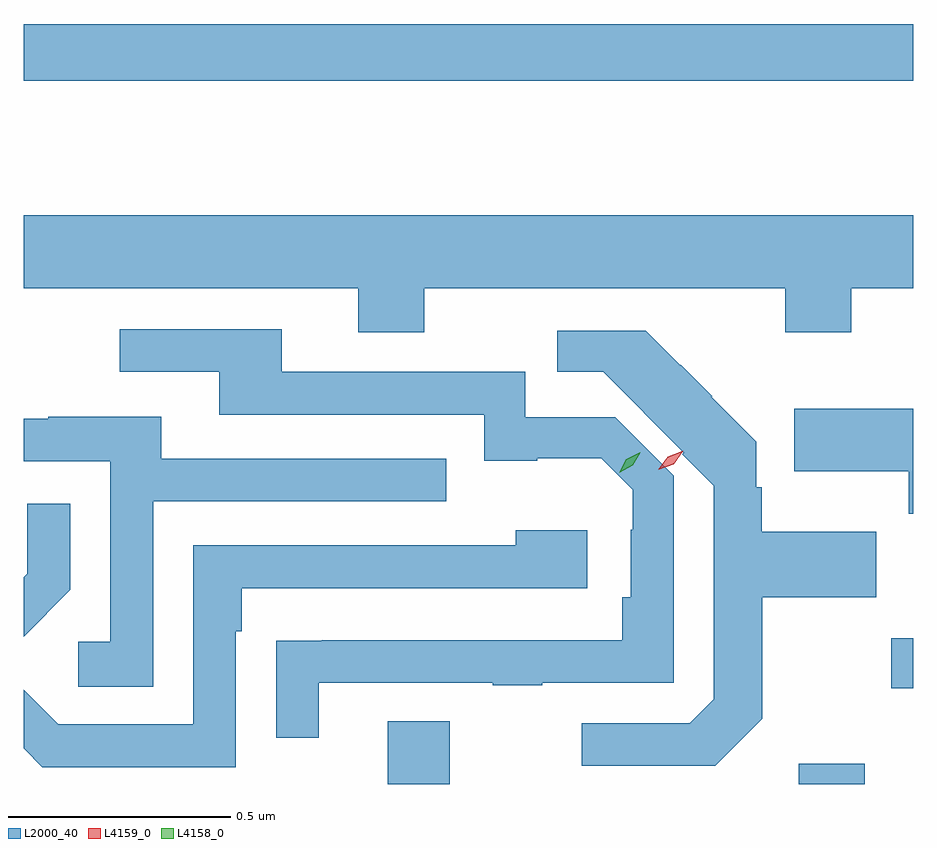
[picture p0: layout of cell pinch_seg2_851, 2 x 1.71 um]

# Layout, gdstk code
import gdstk
lib = gdstk.Library(unit=1e-6, precision=1e-09)
def R(c, l, rs):  # rectangles x0, y0, x1, y1
    for r in rs: c.add(gdstk.rectangle(r[:2], r[2:], *l))
def P(c, l, *ps):  # polygons
    for p in ps: c.add(gdstk.Polygon(p, *l))
L2000_40 = (2000, 40)
L4158_0 = (4158, 0)
L4159_0 = (4159, 0)

pinch_seg2_851 = lib.new_cell('pinch_seg2_851')
R(pinch_seg2_851, L2000_40, [(733.955,615.886,734.095,616.027), (734.879,615.886,735.027,615.931), (735.087,616.101,735.137,616.214), (733.137,617.466,735.137,617.594)])
P(pinch_seg2_851, L2000_40, [(734.037,617),(734.849,617),(734.849,616.901),(734.997,616.901),(734.997,617),(735.137,617),(735.137,617.164),(733.137,617.164),(733.137,617),(733.889,617),(733.889,616.901),(734.037,616.901)],
  [(733.801,616.113),(734.191,616.113),(734.191,616.108),(734.303,616.108),(734.303,616.113),(734.598,616.113),(734.598,616.579),(734.467,616.71),(734.264,616.71),(734.264,616.812),(733.717,616.812),(733.717,616.908),(733.353,616.908),(733.353,616.812),(733.577,616.812),(733.577,616.716),(734.172,616.716),(734.172,616.613),(734.291,616.613),(734.291,616.618),(734.435,616.618),(734.506,616.547),(734.506,616.457),(734.502,616.457),(734.502,616.306),(734.482,616.306),(734.482,616.209),(733.807,616.209),(733.807,616.208),(733.705,616.208),(733.705,615.99),(733.801,615.99)],
  [(734.797,616.033),(734.797,616.306),(735.053,616.306),(735.053,616.453),(734.796,616.453),(734.796,616.553),(734.784,616.553),(734.784,616.655),(734.683,616.756),(734.685,616.757),(734.614,616.828),(734.613,616.827),(734.535,616.905),(734.336,616.905),(734.336,616.812),(734.44,616.812),(734.621,616.631),(734.617,616.627),(734.688,616.556),(734.688,616.077),(734.634,616.023),(734.391,616.023),(734.391,615.927),(734.691,615.927)],
  [(735.137,616.729),(734.869,616.729),(734.869,616.589),(735.126,616.589),(735.126,616.493),(735.137,616.493)],
  [(733.428,616.521),(734.087,616.521),(734.087,616.617),(733.447,616.617),(733.447,616.711),(733.193,616.711),(733.193,616.707),(733.137,616.707),(733.137,616.611),(733.332,616.611),(733.332,616.206),(733.26,616.206),(733.26,616.105),(733.428,616.105)],
  [(733.242,616.322),(733.242,616.516),(733.145,616.516),(733.145,616.359),(733.137,616.351),(733.137,616.217)],
  [(733.614,616.229),(733.627,616.229),(733.627,616.326),(734.404,616.326),(734.404,616.456),(734.243,616.456),(734.243,616.422),(733.518,616.422),(733.518,616.02),(733.215,616.02),(733.137,616.098),(733.137,615.966),(733.179,615.924),(733.614,615.924)])
P(pinch_seg2_851, L4158_0, [(734.476,616.586),(734.476,616.586),(734.492,616.616),(734.523,616.632),(734.523,616.632),(734.523,616.631),(734.506,616.602),(734.476,616.586)])
P(pinch_seg2_851, L4159_0, [(734.563,616.592),(734.563,616.592),(734.585,616.622),(734.62,616.635),(734.62,616.635),(734.62,616.635),(734.598,616.605),(734.563,616.592)])

lib.write_gds('pinch_seg2_851.gds')
